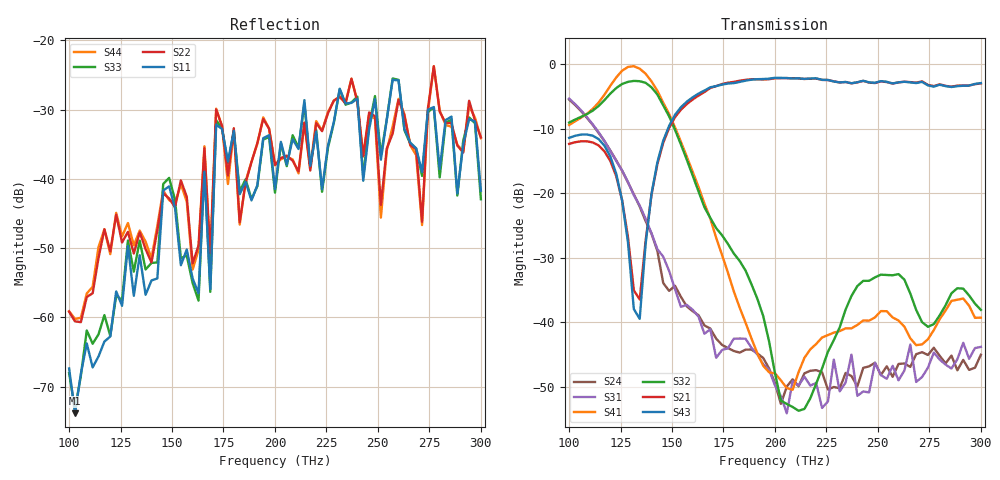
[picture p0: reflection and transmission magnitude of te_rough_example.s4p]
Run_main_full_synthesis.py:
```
""" Run_main_full_synthesis.py     => This program:
                                    - Creates a network for a given S-parameter
                                    - Enforces the reciprocity of created network
                                    - Fits the Y-parameters of network using vector fitting algorithm
                                    - Genrates fitted network for comparison with original network
                                    - Generates a netlist for equivalent full-order network 
                                    - Loads the simulated results of generated full-order netlist from Keysight ADS software for verification of generated netlist
                                    

Author: Rasul Choupanzadeh 
Date: 06/28/2022


This program uses vectfit.py, create_netlist.py, and Load_ADS_full.py programs, which are based on the concepts from [1-9].

 [1] B. Gustavsen and A. Semlyen, "Rational approximation of frequency domain responses
     by Vector Fitting", IEEE Trans. Power Delivery, vol. 14, no. 3, pp. 1052-1061, July 1999.

 [2] B. Gustavsen, "Improving the pole relocating properties of vector fitting",
     IEEE Trans. Power Delivery, vol. 21, no. 3, pp. 1587-1592, July 2006.

 [3] D. Deschrijver, M. Mrozowski, T. Dhaene, and D. De Zutter, "Macromodeling of Multiport Systems
     Using a Fast Implementation of the Vector Fitting Method", IEEE Microwave and Wireless Components
     Letters, vol. 18, no. 6, pp. 383-385, June 2008.

 [4] A. Zadehgol, "A semi-analytic and cellular approach to rational system characterization 
      through equivalent circuits", Wiley IJNM, 2015. [Online]. https://doi.org/10.1002/jnm.2119.

 [5] V. Avula and A. Zadehgol, "A Novel Method for Equivalent Circuit Synthesis from Frequency Response
      of Multi-port Networks", EMC EUR, pp. 79-84, 2016. [Online]. Available: ://WOS:000392194100012.

 [6] R. Choupanzadeh and A. Zadehgol. "Stability, causality, and passivity analysis of canonical equivalent 
      circuits of improper rational transfer functions with real poles and residues", IEEE Access, vol.8, pp. 125149-125162, 2020.
      
 [7] https://github.com/PhilReinhold/vectfit_python   

 [8] https://github.com/JenniferEHoule/Circuit_Synthesis
 
 [9] http://scikit-rf.org


"""


## Input: "te_rough_example.s4p" file,  Num_pole_pairs, m,n           Output: poles, residues, "full_netlist.sp" file, RMSE of fitted and actual network



import vectfit
import numpy as np
from pylab import *
import matplotlib.pyplot as plt
from sklearn.metrics import mean_squared_error
from math import sqrt
from create_netlist import create_netlist_file

import skrf as rf
from skrf import Network, Frequency



def scattering_from_admittance(Y, z0):
    p = Y.shape[1]
    N_freq = Y.shape[0]
    S_par = np.zeros(shape=(N_freq, p, p), dtype='complex')
    for f in range( N_freq):
        E = np.eye(p)
        Zref = z0*E
        Gn = 1/sqrt(np.real(z0))
        Gref = Gn*E
        S_par[f,:,:] = Gref @ (E - Zref @ Y[f,:,:]) @ np.linalg.inv(E + Zref @ Y[f,:,:]) @ np.linalg.inv(Gref)

    return S_par

def admittance_from_scattering(S, z0):
    p = S.shape[1]
    N_freq = S.shape[0]
    Y_par = np.zeros(shape=(N_freq, p, p), dtype='complex')
    for f in range(N_freq):
        E = np.eye(p)
        Zref = z0*E
        Gn = 1/sqrt(np.real(z0))
        Gref = Gn*E
        Y_par[f,:,:] = np.linalg.inv(Gref) @ np.linalg.inv(S[f,:,:] @ Zref + Zref) @ (E - S[f,:,:]) @ Gref

    return Y_par


def create_upper_matrix(values, size):
    upper = np.zeros((size, size),dtype='complex')
    upper[np.triu_indices(size, 0)] = values
    return(upper)


#---------------------------------------------------------Load the origianl network results and enforce reciprocity--------------------------------------------------- 
TL = Network('te_rough_example.s4p')
S_par_original = TL.s.copy()

# creating frequency matrix    
freq_start = TL.frequency.start   
freq_stop = TL.frequency.stop
Num_freq = TL.frequency.npoints
freq = np.linspace(freq_start,freq_stop,Num_freq)

number_of_ports = S_par_original.shape[1]


S_par_reciprocal = TL.s.copy()
# Enforce reciprocity 
for f in range(len(freq)):
    for i in range(number_of_ports):
        for j in range(number_of_ports):
            if j<i:
                S_par_reciprocal[f,i,j] = S_par_reciprocal[f,j,i]


Y_par_reciprocal = admittance_from_scattering(S_par_reciprocal, 50)


#---------------------------------------------------Prepare the reciprocal network (i.e., construct and stack y') for vectfit algorithm --------------------------------------- 
Y_par = Y_par_reciprocal

# Calculate Y', reshape and stack the Y-parameters
p = number_of_ports
Num_subckt = int((p*(p+1))/2)                                           # sum of first p natural numbers
Num_freq = len(freq)
Y_stack = np.zeros(shape=(Num_subckt, Num_freq), dtype='complex')
for f in range(len(freq)):
    t = Y_par[f,:,:].copy()
    # construct y' (for futher details see [5]) and stack 
    for i in range(p):
        t[i,i] = np.sum(t[i,:])
                
    for i in range(p):
        for j in range(p):
            if i != j:
                t[i,j] = -t[i,j]

    Y_stack[:,f] = t[np.triu_indices(p)]                                # converts upper triangular values into a vector 


#---------------------------------------------------------------------Perform vectfit algorithm----------------------------------------------------------------------- 
test_s = 1j*2*np.pi*freq
test_f = Y_stack.copy()

Num_pole_pairs = 100

# Find the fitted poles and residues
poles = np.zeros(shape=(Num_subckt,2*Num_pole_pairs), dtype='complex')    
residues = np.zeros(shape=(Num_subckt,2*Num_pole_pairs), dtype='complex')    
for i in range(Num_subckt):
    poles[i,:], residues[i,:] = vectfit.vectfit_auto_rescale(test_f[i,:], test_s, n_poles=Num_pole_pairs)             # Note: n_poles = each pair of complex-conjugate poles are counted as one 

    
fitted = np.zeros(shape=(Num_subckt,len(test_s)), dtype='complex')    
for i in range(0,Num_subckt):
    fitted[i,:] = vectfit.model(test_s, poles[i,:], residues[i,:])


## This part is for visualization of errors, and disabled in final version
#for i in range(Num_subckt):
    #figure()
    #plt.plot(freq, np.angle(test_f[i,:]), label="Accurate_Y" , c="blue", linestyle='solid')
    #plt.plot(freq, np.angle(fitted[i,:]), label="Fitted_Y ", c="red", linestyle=(0,(5, 5)))
    #plt.legend(loc='upper left')
    #plt.xlim([freq[0],freq[-1]])
    #plt.xlabel('Frequency (THz)')
    #plt.ylabel('$ Magnitude $')
    #plt.grid(color = 'green', linestyle = '--', linewidth = 0.5)     
   
RMSE = []
for i in range(0,Num_subckt):
    square = np.square(np.absolute(fitted[i,:]-test_f[i,:]))
    MSE=square.mean()
    rmse = np.sqrt(MSE)
    RMSE.append(rmse)
    
print("Maximum RMSE of fitted (Python) and actual values = ", np.max(RMSE))


#------------------------------------------------Genrate fitted network and compare the results with original network (reciprocated)----------------------------------------- 
# Genrate fitted network 
Y_fit = np.zeros(shape=(len(freq),p,p), dtype='complex')
for f in range(len(freq)):
    u = create_upper_matrix(fitted[:,f], p)
    l = np.triu(u,1).T
    Y_fit[f,:,:] = u + l
    # convert from y' to y
    for i in range(p):
        Y_fit[f,i,i] = np.sum(Y_fit[f,i,:])
                
    for i in range(p):
        for j in range(p):
            if i != j:
                Y_fit[f,i,j] = -Y_fit[f,i,j]

S_par_fitted = scattering_from_admittance(Y_fit, 50)

Z_par_reciprocal = np.linalg.inv(Y_par_reciprocal)
Z_fit = np.linalg.inv(Y_fit)

def compare_fitted_vs_actual(m, n):
    mn = m*10+n
    # Compare Z-parameters
    actual_Z =  Z_par_reciprocal[:,m-1,n-1]
    fitted_Z = Z_fit[:,m-1,n-1]
    fig = plt.figure(figsize=(12, 6))
    ax = fig.add_subplot(121)
    ax2 = fig.add_subplot(122)
    ax.set_title('Magnitude')
    ax.plot(freq/1e12, np.absolute(actual_Z), color='blue', label='Actual', linestyle='solid')
    ax.plot(freq/1e12, np.absolute(fitted_Z), color='red', label='Fitted', linestyle=(0,(5, 5)))
    ax2.set_title('Phase (deg)')
    ax2.plot(freq/1e12, np.angle(actual_Z)*180/np.pi, color='blue', label='Actual', linestyle='solid')
    ax2.plot(freq/1e12, np.angle(fitted_Z)*180/np.pi, color='red', label='Fitted', linestyle=(0,(5,5)))
    ax2.set_xlim([freq[0]/1e12,freq[-1]/1e12])
    ax.set_xlim([freq[0]/1e12,freq[-1]/1e12])
    ax.set_xlabel('Frequency (THz)')
    ax2.set_xlabel('Frequency (THz)')
    ax.grid(color = 'green', linestyle = '--', linewidth = 0.5)
    ax2.grid(color = 'green', linestyle = '--', linewidth = 0.5)
    ax.legend(loc='upper right')
    ax2.legend(loc='upper right')
    fig.suptitle(f"Z%d" %mn)
    
    # Compare Y-parameters
    actual_Y =  Y_par_reciprocal[:,m-1,n-1]
    fitted_Y = Y_fit[:,m-1,n-1]
    fig = plt.figure(figsize=(12, 6))
    ax = fig.add_subplot(121)
    ax2 = fig.add_subplot(122)
    ax.set_title('Magnitude')
    ax.plot(freq/1e12, np.absolute(actual_Y), color='blue', label='Actual', linestyle='solid')
    ax.plot(freq/1e12, np.absolute(fitted_Y), color='red', label='Fitted', linestyle=(0,(5, 5)))
    ax2.set_title('Phase (deg)')
    ax2.plot(freq/1e12, np.angle(actual_Y)*180/np.pi, color='blue', label='Actual', linestyle='solid')
    ax2.plot(freq/1e12, np.angle(fitted_Y)*180/np.pi, color='red', label='Fitted', linestyle=(0,(5,5)))
    ax2.set_xlim([freq[0]/1e12,freq[-1]/1e12])
    ax.set_xlim([freq[0]/1e12,freq[-1]/1e12])
    ax.set_xlabel('Frequency (THz)')
    ax2.set_xlabel('Frequency (THz)')
    ax.grid(color = 'green', linestyle = '--', linewidth = 0.5)
    ax2.grid(color = 'green', linestyle = '--', linewidth = 0.5)
    ax.legend(loc='upper right')
    ax2.legend(loc='upper right')
    fig.suptitle(f"Y%d" %mn)

    # Compare S-parameters
    actual_S =  S_par_reciprocal[:,m-1,n-1]
    fitted_S = S_par_fitted[:,m-1,n-1]
    
    fig = plt.figure(figsize=(12, 6))
    ax = fig.add_subplot(121)
    ax2 = fig.add_subplot(122)
    ax.set_title('Magnitude')
    ax.plot(freq/1e12, np.absolute(actual_S), color='blue', label='Actual', linestyle='solid')
    ax.plot(freq/1e12, np.absolute(fitted_S), color='red', label='Fitted', linestyle=(0,(5, 5)))
    ax2.set_title('Phase (deg)')
    ax2.plot(freq/1e12, np.angle(actual_S)*180/np.pi, color='blue', label='Actual', linestyle='solid')
    ax2.plot(freq/1e12, np.angle(fitted_S)*180/np.pi, color='red', label='Fitted', linestyle=(0,(5,5)))
    ax2.set_xlim([freq[0]/1e12,freq[-1]/1e12])
    ax.set_xlim([freq[0]/1e12,freq[-1]/1e12])
    ax.set_xlabel('Frequency (THz)')
    ax2.set_xlabel('Frequency (THz)')
    ax.grid(color = 'green', linestyle = '--', linewidth = 0.5)
    ax2.grid(color = 'green', linestyle = '--', linewidth = 0.5)
    ax.legend(loc='upper right')
    ax2.legend(loc='upper right')
    fig.suptitle(f"S%d" %mn)

# m and n are the parameters for comparison of desired network parameters 
m = 1
n = 1
compare_fitted_vs_actual(m,n)
plt.show()


#-----------------------------------------------------------------------Genrate netlist------------------------------------------------------------------ 
create_netlist_file(poles, residues, number_of_ports)


#------------------------------------------------------------Load equivalent network results from ADS---------------------------------------------------- 

## The following part is for verification of generated netlist; by comparing the simulation results of netlist in ADS software and original S-parameters, and is disabled in final version

#exec(open("Load_ADS_full.py").read())

#freq_ADS = frequency

#def compare_ADS_vs_actual(m, n):
    #mn = m*10+n
    ## Compare S-parameters
    #actual_S =  S_par_reciprocal[:,m-1,n-1]
    #ADS_S = S_ADS[:,m-1,n-1]
    
    #fig = plt.figure(figsize=(12, 6))
    #ax = fig.add_subplot(121)
    #ax2 = fig.add_subplot(122)
    #ax.set_title('Magnitude')
    #ax.plot(freq/1e12, np.absolute(actual_S), color='blue', label='Actual', linestyle='solid')
    #ax.plot(freq_ADS/1e12, np.absolute(ADS_S), color='red', label='ADS', linestyle=(0,(5, 5)))
    #ax2.set_title('Phase (deg)')
    #ax2.plot(freq/1e12, np.angle(actual_S)*180/np.pi, color='blue', label='Actual', linestyle='solid')
    #ax2.plot(freq_ADS/1e12, np.angle(ADS_S)*180/np.pi, color='red', label='ADS', linestyle=(0,(5,5)))
    #ax2.set_xlim([min(freq[0],freq_ADS[0])/1e12,max(freq[-1],freq_ADS[-1])/1e12])
    #ax.set_xlim([min(freq[0],freq_ADS[0])/1e12,max(freq[-1],freq_ADS[-1])/1e12])
    #ax.set_xlabel('Frequency (THz)')
    #ax2.set_xlabel('Frequency (THz)')
    #ax.grid(color = 'green', linestyle = '--', linewidth = 0.5)
    #ax2.grid(color = 'green', linestyle = '--', linewidth = 0.5)
    #ax.legend(loc='upper right')
    #ax2.legend(loc='upper right')
    #fig.suptitle(f"S%d" %mn)

#compare_ADS_vs_actual(m,n)

#plt.show()
```
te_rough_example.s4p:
!This S-parameter file was generated as part of the OIDT. This project was completed as part of research conducted with my major professor and advisor, Prof. Ata Zadehgol, at the Applied and Computational Electromagnetics Signal and Power Integrity (ACEM-SPI) Lab while working toward the Ph.D. in El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
!Created with skrf (http://scikit-rf.org).
# Hz S RI R 50.0
!freq ReS11 ImS11 ReS12 ImS12 ReS13 ImS13
! ReS14 ImS14
! ReS21 ImS21 ReS22 ImS22 ReS23 ImS23
! ReS24 ImS24
! ReS31 ImS31 ReS32 ImS32 ReS33 ImS33
! ReS34 ImS34
! ReS41 ImS41 ReS42 ImS42 ReS43 ImS43
! ReS44 ImS44
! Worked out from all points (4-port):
!   71 points, 100 THz to 300.1 THz, reference 50 ohm
!   strongest paths, dB at 100 THz, 148.6 THz, 200 THz, 251.5 THz, 300.1 THz:
!     S43: -11.4, -9.5, -2.1, -2.6, -2.9
!     S21: -12.3, -9.9, -2.2, -2.6, -3.0
!     S32: -9.0, -8.1, -47.9, -32.6, -38.1
!     S41: -9.4, -7.7, -47.9, -38.2, -39.3
!     S31: -5.3, -32.0, -49.8, -48.2, -43.8
!     S24: -5.5, -35.1, -49.4, -48.2, -45.0
!   lowest |S11| = -73.8 dB at 102.9 THz (marker M1), VSWR 1.00, Z = 50 + j0.0163 ohm
!   |S11| at or under -10 dB: start of sweep to end of sweep
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1.000168e14  -0.000411 0.000121  0.267 -0.0185  0.5398 -0.0635  0.3609 -0.0211
             0.2409 -0.0196  -0.000847 0.000703  0.3294 -0.0209  0.5307 -0.0528
             0.539 -0.0626  0.3529 -0.023  -0.000355 0.000178  0.2861 -0.0217
             0.338 -0.0212  0.5315 -0.0525  0.2684 -0.0205  -0.000834 0.000732
1.028744e14  -0.000121 0.000163  0.274 -0.0191  0.4915 -0.0444  0.383 -0.0213
             0.248 -0.0208  -0.000314 0.000883  0.3514 -0.0212  0.4833 -0.0371
             0.4902 -0.0433  0.3721 -0.0231  -0.000146 0.000159  0.2952 -0.0227
             0.3607 -0.0215  0.4836 -0.0356  0.2782 -0.022  -0.000306 0.000926
3.000503e14  -0.00816 -0.00101  0.6438 -0.00318  0.00364 0.00156  0.0061 -0.000275
             0.7108 0.00201  -0.02 -0.00107  0.00681 -0.00028  0.00504 -0.00249
             0.00645 -0.000326  0.0125 0.000129  -0.00706 -0.00108  0.6293 -0.00281
             0.0108 0.00132  0.0056 -0.000275  0.7151 0.00202  -0.0197 -0.00112
